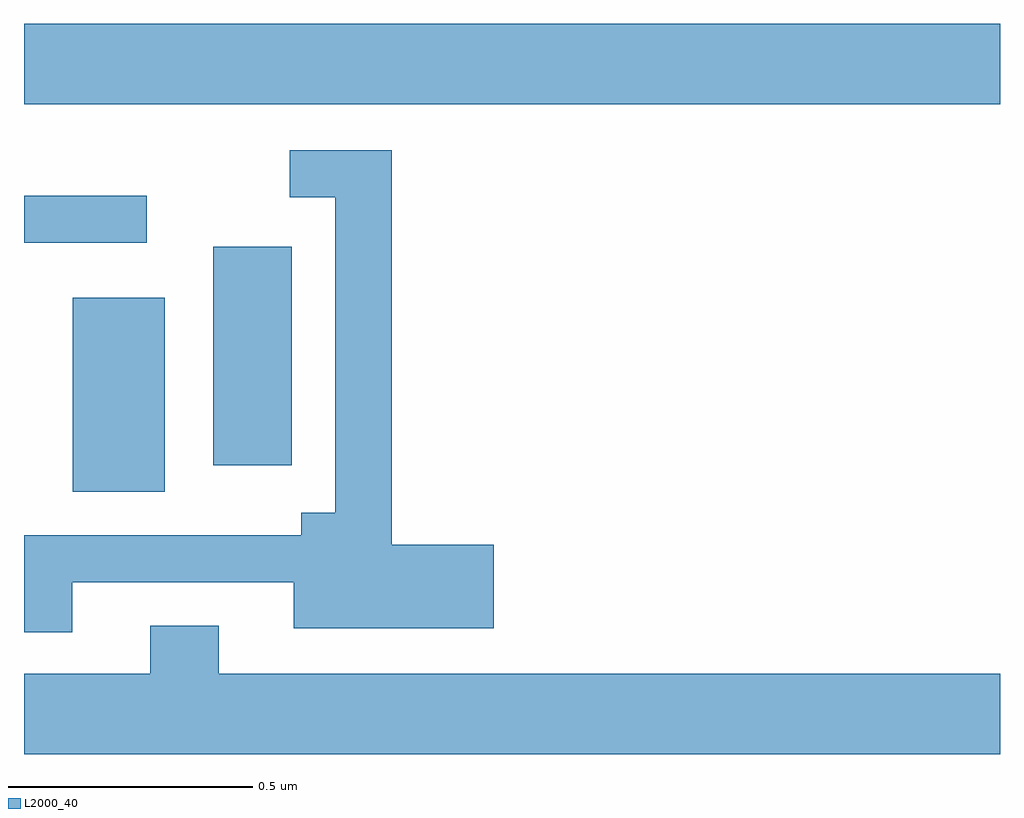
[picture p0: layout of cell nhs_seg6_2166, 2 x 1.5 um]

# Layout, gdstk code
import gdstk
lib = gdstk.Library(unit=1e-6, precision=1e-09)
def R(c, l, rs):  # rectangles x0, y0, x1, y1
    for r in rs: c.add(gdstk.rectangle(r[:2], r[2:], *l))
def P(c, l, *ps):  # polygons
    for p in ps: c.add(gdstk.Polygon(p, *l))
L2000_40 = (2000, 40)

nhs_seg6_2166 = lib.new_cell('nhs_seg6_2166')
R(nhs_seg6_2166, L2000_40, [(139.1,949.205,139.288,949.603), (139.388,949.26,139.549,949.708), (139,949.716,139.252,949.812), (139,950,141,950.164)])
P(nhs_seg6_2166, L2000_40, [(139.099,949.02),(139.553,949.02),(139.553,948.926),(139.963,948.926),(139.963,949.097),(139.754,949.097),(139.754,949.905),(139.545,949.905),(139.545,949.809),(139.638,949.809),(139.638,949.162),(139.568,949.162),(139.568,949.116),(139,949.116),(139,948.918),(139.099,948.918)],
  [(141,948.832),(139.399,948.832),(139.399,948.931),(139.259,948.931),(139.259,948.832),(139,948.832),(139,948.668),(141,948.668)])

lib.write_gds('nhs_seg6_2166.gds')
